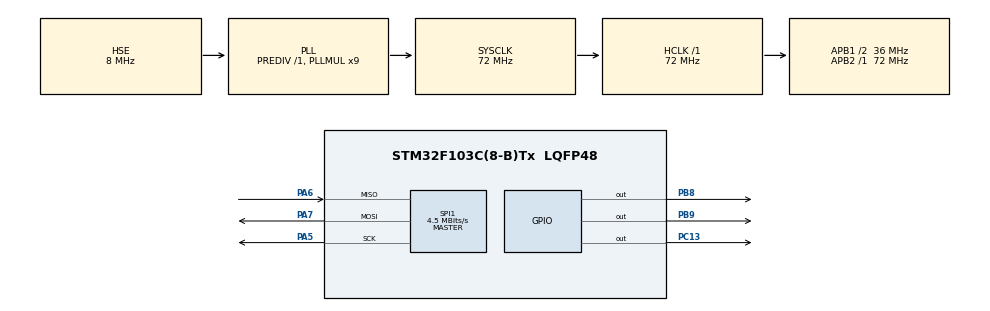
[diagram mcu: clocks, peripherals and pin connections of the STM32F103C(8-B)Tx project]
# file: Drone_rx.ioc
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Mcu.Family=STM32F1
Mcu.Name=STM32F103C(8-B)Tx
Mcu.Package=LQFP48
NVIC.PriorityGroup=NVIC_PRIORITYGROUP_4
PA13.Mode=Serial_Wire
PA13.Signal=SYS_JTMS-SWDIO
PA14.Mode=Serial_Wire
PA14.Signal=SYS_JTCK-SWCLK
PA5.Mode=Full_Duplex_Master
PA5.Signal=SPI1_SCK
PA6.Mode=Full_Duplex_Master
PA6.Signal=SPI1_MISO
PA7.Mode=Full_Duplex_Master
PA7.Signal=SPI1_MOSI
PB8.Signal=GPIO_Output
PB9.Signal=GPIO_Output
PC13-TAMPER-RTC.Signal=GPIO_Output
PD0-OSC_IN.Mode=HSE-External-Oscillator
PD0-OSC_IN.Signal=RCC_OSC_IN
PD1-OSC_OUT.Mode=HSE-External-Oscillator
PD1-OSC_OUT.Signal=RCC_OSC_OUT
ProjectManager.HeapSize=0x200
ProjectManager.StackSize=0x400
ProjectManager.TargetToolchain=MDK-ARM V5.32
RCC.AHBFreq_Value=72000000
RCC.APB1CLKDivider=RCC_HCLK_DIV2
RCC.APB1Freq_Value=36000000
RCC.APB1TimFreq_Value=72000000
RCC.APB2Freq_Value=72000000
RCC.APB2TimFreq_Value=72000000
RCC.HCLKFreq_Value=72000000
RCC.PLLMUL=RCC_PLL_MUL9
RCC.PLLSourceVirtual=RCC_PLLSOURCE_HSE
RCC.SYSCLKFreq_VALUE=72000000
RCC.SYSCLKSource=RCC_SYSCLKSOURCE_PLLCLK
RCC.USBFreq_Value=72000000
SPI1.BaudRatePrescaler=SPI_BAUDRATEPRESCALER_16
SPI1.CalculateBaudRate=4.5 MBits/s
SPI1.Direction=SPI_DIRECTION_2LINES
SPI1.Mode=SPI_MODE_MASTER
SPI1.VirtualType=VM_MASTER
board=custom

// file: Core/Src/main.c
/* USER CODE BEGIN Header */
/**
  ******************************************************************************
  * @file           : main.c
  * @brief          : Main program body
  ******************************************************************************
  * @attention
  *
  * Copyright (c) 2024 STMicroelectronics.
  * All rights reserved.
  *
  * This software is licensed under terms that can be found in the LICENSE file
  * in the root directory of this software component.
  * If no LICENSE file comes with this software, it is provided AS-IS.
  *
  ******************************************************************************
  */
/* USER CODE END Header */
#include "main.h"

/* USER CODE BEGIN Includes */
#include "MY_NRF24.h"
#include "stdio.h"
#include "string.h"
/* USER CODE END Includes */

SPI_HandleTypeDef hspi1;

void SystemClock_Config(void);
static void MX_GPIO_Init(void);
static void MX_SPI1_Init(void);

/* USER CODE BEGIN 0 */
uint64_t RxpipeAddrs = 0x11223344AA;
float myRxData[32];
float Angle_roll;
float Angle_Pitch;

int16_t esc1, esc2, esc3, esc4,throttle;
float prevtime;
/* USER CODE END 0 */

int main(void)
{

  /* MCU Configuration--------------------------------------------------------*/

  /* Reset of all peripherals, Initializes the Flash interface and the Systick. */
  HAL_Init();

  /* Configure the system clock */
  SystemClock_Config();

  /* Initialize all configured peripherals */
  MX_GPIO_Init();
  MX_SPI1_Init();
  /* USER CODE BEGIN 2 */
	NRF24_begin(GPIOB, GPIO_PIN_9, GPIO_PIN_8, hspi1);

	NRF24_startListening();
	NRF24_openReadingPipe(1, RxpipeAddrs);

	NRF24_setAutoAck(true);
	NRF24_setChannel(52);
	NRF24_setPayloadSize(32);

	NRF24_enableDynamicPayloads();
	NRF24_enableAckPayload();

  /* USER CODE END 2 */

  /* Infinite loop */
  while (1)
  {

    /* USER CODE BEGIN 3 */
		if(NRF24_available())
		{
		NRF24_read(myRxData, 32);
		HAL_GPIO_TogglePin(GPIOC, GPIO_PIN_13);
		}
		Angle_Pitch = myRxData[0];
		Angle_roll 	= myRxData[1];
		//esc1 = myRxData[2] ;
		//esc2 = myRxData[3] ;
		//esc3 = myRxData[4] ;
		//esc4 = myRxData[5] ;
		//while ((HAL_GetTick() - prevtime) * 1000 < 4000);
		//prevtime = HAL_GetTick();
		HAL_Delay(200);

  }
  /* USER CODE END 3 */
}

void SystemClock_Config(void)
{
  RCC_OscInitTypeDef RCC_OscInitStruct = {0};
  RCC_ClkInitTypeDef RCC_ClkInitStruct = {0};

  /** Initializes the RCC Oscillators according to the specified parameters
  * in the RCC_OscInitTypeDef structure.
  */
  RCC_OscInitStruct.OscillatorType = RCC_OSCILLATORTYPE_HSE;
  RCC_OscInitStruct.HSEState = RCC_HSE_ON;
  RCC_OscInitStruct.HSEPredivValue = RCC_HSE_PREDIV_DIV1;
  RCC_OscInitStruct.HSIState = RCC_HSI_ON;
  RCC_OscInitStruct.PLL.PLLState = RCC_PLL_ON;
  RCC_OscInitStruct.PLL.PLLSource = RCC_PLLSOURCE_HSE;
  RCC_OscInitStruct.PLL.PLLMUL = RCC_PLL_MUL9;
  if (HAL_RCC_OscConfig(&RCC_OscInitStruct) != HAL_OK)
  {
    Error_Handler();
  }

  /** Initializes the CPU, AHB and APB buses clocks
  */
  RCC_ClkInitStruct.ClockType = RCC_CLOCKTYPE_HCLK|RCC_CLOCKTYPE_SYSCLK
                              |RCC_CLOCKTYPE_PCLK1|RCC_CLOCKTYPE_PCLK2;
  RCC_ClkInitStruct.SYSCLKSource = RCC_SYSCLKSOURCE_PLLCLK;
  RCC_ClkInitStruct.AHBCLKDivider = RCC_SYSCLK_DIV1;
  RCC_ClkInitStruct.APB1CLKDivider = RCC_HCLK_DIV2;
  RCC_ClkInitStruct.APB2CLKDivider = RCC_HCLK_DIV1;

  if (HAL_RCC_ClockConfig(&RCC_ClkInitStruct, FLASH_LATENCY_2) != HAL_OK)
  {
    Error_Handler();
  }
}

static void MX_SPI1_Init(void)
{

  /* SPI1 parameter configuration*/
  hspi1.Instance = SPI1;
  hspi1.Init.Mode = SPI_MODE_MASTER;
  hspi1.Init.Direction = SPI_DIRECTION_2LINES;
  hspi1.Init.DataSize = SPI_DATASIZE_8BIT;
  hspi1.Init.CLKPolarity = SPI_POLARITY_LOW;
  hspi1.Init.CLKPhase = SPI_PHASE_1EDGE;
  hspi1.Init.NSS = SPI_NSS_SOFT;
  hspi1.Init.BaudRatePrescaler = SPI_BAUDRATEPRESCALER_16;
  hspi1.Init.FirstBit = SPI_FIRSTBIT_MSB;
  hspi1.Init.TIMode = SPI_TIMODE_DISABLE;
  hspi1.Init.CRCCalculation = SPI_CRCCALCULATION_DISABLE;
  hspi1.Init.CRCPolynomial = 10;
  if (HAL_SPI_Init(&hspi1) != HAL_OK)
  {
    Error_Handler();
  }

}

static void MX_GPIO_Init(void)
{
  GPIO_InitTypeDef GPIO_InitStruct = {0};

  /* GPIO Ports Clock Enable */
  __HAL_RCC_GPIOC_CLK_ENABLE();
  __HAL_RCC_GPIOD_CLK_ENABLE();
  __HAL_RCC_GPIOA_CLK_ENABLE();
  __HAL_RCC_GPIOB_CLK_ENABLE();

  /*Configure GPIO pin Output Level */
  HAL_GPIO_WritePin(GPIOC, GPIO_PIN_13, GPIO_PIN_RESET);

  /*Configure GPIO pin Output Level */
  HAL_GPIO_WritePin(GPIOB, GPIO_PIN_8|GPIO_PIN_9, GPIO_PIN_RESET);

  /*Configure GPIO pin : PC13 */
  GPIO_InitStruct.Pin = GPIO_PIN_13;
  GPIO_InitStruct.Mode = GPIO_MODE_OUTPUT_PP;
  GPIO_InitStruct.Pull = GPIO_NOPULL;
  GPIO_InitStruct.Speed = GPIO_SPEED_FREQ_LOW;
  HAL_GPIO_Init(GPIOC, &GPIO_InitStruct);

  /*Configure GPIO pins : PB8 PB9 */
  GPIO_InitStruct.Pin = GPIO_PIN_8|GPIO_PIN_9;
  GPIO_InitStruct.Mode = GPIO_MODE_OUTPUT_PP;
  GPIO_InitStruct.Pull = GPIO_NOPULL;
  GPIO_InitStruct.Speed = GPIO_SPEED_FREQ_LOW;
  HAL_GPIO_Init(GPIOB, &GPIO_InitStruct);

}

void Error_Handler(void)
{
  __disable_irq();
  while (1)
  {
  }
}
